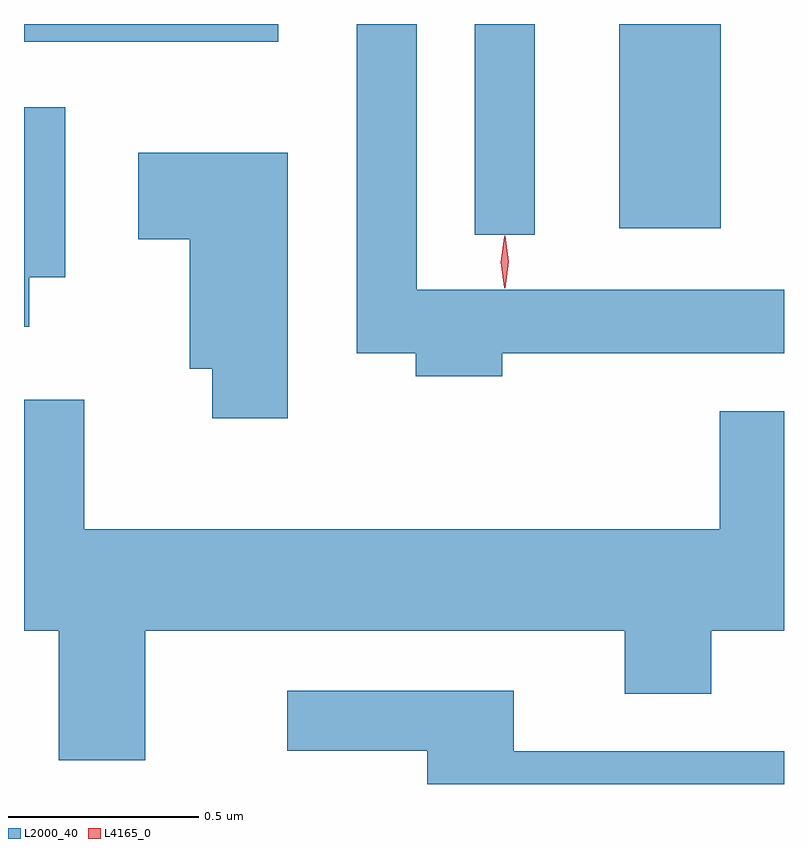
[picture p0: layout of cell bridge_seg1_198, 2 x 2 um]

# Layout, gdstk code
import gdstk
lib = gdstk.Library(unit=1e-6, precision=1e-09)
def R(c, l, rs):  # rectangles x0, y0, x1, y1
    for r in rs: c.add(gdstk.rectangle(r[:2], r[2:], *l))
def P(c, l, *ps):  # polygons
    for p in ps: c.add(gdstk.Polygon(p, *l))
L2000_40 = (2000, 40)
L4165_0 = (4165, 0)

bridge_seg1_198 = lib.new_cell('bridge_seg1_198')
R(bridge_seg1_198, L2000_40, [(704.756,953.898,704.914,954.453), (705.136,953.916,705.404,954.453), (703.57,954.406,704.239,954.453)])
P(bridge_seg1_198, L2000_40, [(704.829,953.586),(705.57,953.586),(705.57,953.754),(704.604,953.754),(704.604,954.453),(704.446,954.453),(704.446,953.586),(704.601,953.586),(704.601,953.526),(704.829,953.526)],
  [(703.584,953.786),(703.679,953.786),(703.679,954.234),(703.57,954.234),(703.57,953.656),(703.584,953.656)],
  [(704.264,954.114),(703.871,954.114),(703.871,953.886),(704.006,953.886),(704.006,953.546),(704.066,953.546),(704.066,953.416),(704.264,953.416)],
  [(703.889,952.856),(705.151,952.856),(705.151,952.691),(705.379,952.691),(705.379,952.856),(705.57,952.856),(705.57,953.434),(705.401,953.434),(705.401,953.124),(703.729,953.124),(703.729,953.464),(703.57,953.464),(703.57,952.856),(703.661,952.856),(703.661,952.516),(703.889,952.516)],
  [(705.57,952.539),(704.859,952.539),(704.859,952.699),(704.263,952.699),(704.263,952.541),(704.631,952.541),(704.631,952.453),(705.57,952.453)])
P(bridge_seg1_198, L4165_0, [(704.834,953.759),(704.834,953.76),(704.824,953.826),(704.834,953.892),(704.834,953.893),(704.835,953.892),(704.844,953.826),(704.835,953.76)],
  [(704.835,953.757),(704.826,953.827),(704.835,953.896),(704.836,953.896),(704.836,953.896),(704.845,953.827),(704.836,953.757),(704.836,953.757)])

lib.write_gds('bridge_seg1_198.gds')
